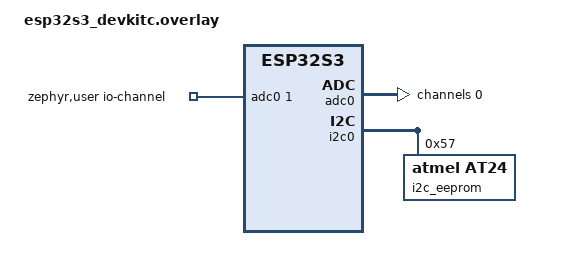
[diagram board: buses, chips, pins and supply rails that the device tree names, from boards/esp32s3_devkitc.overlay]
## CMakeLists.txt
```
# SPDX-License-Identifier: Apache-2.0

cmake_minimum_required(VERSION 3.20.0)

find_package(Zephyr REQUIRED HINTS $ENV{ZEPHYR_BASE})
project(hvac)

target_sources(app PRIVATE src/main.c src/adc_fake.c src/eeprom_fake.c src/fixedpoint-pid.c)
```

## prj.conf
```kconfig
# nothing here
#CONFIG_ZTEST=y
CONFIG_ADC=y
CONFIG_ADC_EMUL=y
## EEPROM
CONFIG_EEPROM=y
CONFIG_EMUL=y
CONFIG_EEPROM_INIT_PRIORITY=75
CONFIG_EEPROM_AT2X_EMUL=y
## ETHERNET
CONFIG_ETH_NATIVE_POSIX=y

# General config
CONFIG_MAIN_STACK_SIZE=1200
CONFIG_POSIX_API=y

# Networking config
CONFIG_NETWORKING=y
CONFIG_NET_IPV4=y
CONFIG_NET_IPV6=n
CONFIG_NET_TCP=y
CONFIG_NET_SOCKETS=y
CONFIG_NET_IPV4_MAPPING_TO_IPV6=n

# Network driver config
CONFIG_TEST_RANDOM_GENERATOR=y

# Network address config
CONFIG_NET_CONFIG_SETTINGS=y
CONFIG_NET_CONFIG_NEED_IPV4=y
CONFIG_NET_CONFIG_NEED_IPV6=n
CONFIG_NET_CONFIG_MY_IPV4_ADDR="192.0.2.1"
CONFIG_NET_CONFIG_PEER_IPV4_ADDR="192.0.2.2"
#CONFIG_NET_CONFIG_MY_IPV6_ADDR="2001:db8::1"
#CONFIG_NET_CONFIG_PEER_IPV6_ADDR="2001:db8::2"
```

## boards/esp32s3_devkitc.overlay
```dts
/*
 * SPDX-License-Identifier: Apache-2.0
 *
 * Copyright (c) 2024, Vitrolife A/S
 */

/ {
	zephyr,user {
		/* CN9 pin 1 */
		io-channels = <&adc0 1>;
	};
	
	aliases {
		eeprom-1 = &i2c_eeprom;
	};

};

&adc0 {
  status = "okay";
	#address-cells = <1>;
	#size-cells = <0>;

	channel@1 {
		reg = <0>;
		zephyr,gain = "ADC_GAIN_1";
		zephyr,reference = "ADC_REF_INTERNAL";
    zephyr,vref-mv = <3894>;
		zephyr,acquisition-time = <ADC_ACQ_TIME_DEFAULT>;
		zephyr,resolution = <12>;
	};
};

&i2c0 {
  status = "okay";
	i2c_eeprom: eeprom@57 {
		compatible = "atmel,at24";
		reg = <0x57>;
		size = <256>;
		pagesize = <8>;
		address-width = <8>;
		timeout = <5>;
	};
};
```

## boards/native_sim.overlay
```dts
/*
 * SPDX-License-Identifier: Apache-2.0
 *
 * Copyright (c) 2024, Vitrolife A/S
 */

/ {
	zephyr,user {
		/* CN9 pin 1 */
		io-channels = <&adc0 1>;
	};
	
	aliases {
		eeprom-1 = &i2c_eeprom;
	};

};

&adc0 {
	#address-cells = <1>;
	#size-cells = <0>;
	ref-internal-mv = <3300>;
	ref-external1-mv = <5000>;

	channel@1 {
		reg = <0>;
		zephyr,gain = "ADC_GAIN_1";
		zephyr,reference = "ADC_REF_INTERNAL";
		zephyr,acquisition-time = <ADC_ACQ_TIME_DEFAULT>;
		zephyr,resolution = <12>;
	};
};

&i2c0 {
	i2c_eeprom: eeprom@57 {
		compatible = "atmel,at24";
		reg = <0x57>;
		size = <256>;
		pagesize = <8>;
		address-width = <8>;
		timeout = <5>;
	};
};
```

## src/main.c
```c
/*
 * Copyright (c) 2020 Libre Solar Technologies GmbH
 *
 * SPDX-License-Identifier: Apache-2.0
 */

// Standard C headers
#include <inttypes.h>            // Format specifiers for integer types
#include <stddef.h>              // Standard definitions (NULL, size_t, etc.)
#include <stdint.h>              // Fixed-width integer types
#include <stdio.h>               // Standard I/O functions

// Zephyr RTOS headers
#include <zephyr/device.h>       // Device driver API
#include <zephyr/devicetree.h>   // DeviceTree macros
#include <zephyr/drivers/adc.h>  // ADC driver API
#include <zephyr/kernel.h>       // Kernel functions (threads, sleep)
#include <zephyr/sys/printk.h>   // printk for logging
#include <zephyr/sys/util.h>     // Utility macros

// Zephyr networking headers
#include <zephyr/net/socket.h>   // BSD socket API
#include <zephyr/net/ethernet.h> // Ethernet networking
#include <zephyr/net/net_mgmt.h> // Network management API

// Application-specific headers
#include "adc_fake.h"            // Fake ADC implementation
#include "eeprom_fake.h"         // Fake EEPROM implementation
#include "zephyr/net/net_ip.h"   // IP address utilities
#include "fixedpoint-pid.h"      // Fixed-point PID controller

// Define ADC device from DeviceTree instance 0
#define ADC_DEVICE_NODE		DT_INST(0, zephyr_adc_emul)

// Global pointer to EEPROM device
static const struct device *eeprom;

// TCP server port
#define BIND_PORT 4242

// Function: Initialize and run a single-threaded TCP echo server over Ethernet
int eth_init()
{
	int opt;                     // Socket option variable
	socklen_t optlen = sizeof(int);
	int serv, ret;
	struct sockaddr_in bind_addr = {
		.sin_family = AF_INET,                // IPv4
		.sin_addr = INADDR_ANY_INIT,         // Bind to all interfaces
		.sin_port = htons(BIND_PORT),        // Bind to BIND_PORT
	};
	static int counter;          // Connection counter

	// Create TCP socket
	serv = socket(AF_INET, SOCK_STREAM, IPPROTO_TCP);
	if (serv < 0) {
		printf("error: socket: %d\n", errno);
		exit(1);
	}

	// Check IPV6_V6ONLY option and disable if needed
	ret = getsockopt(serv, IPPROTO_IP, 0, &opt, &optlen);
	if (ret == 0) {
		if (opt) {
			printf("IPV6_V6ONLY option is on, turning it off.\n");
			opt = 0;
			ret = setsockopt(serv, IPPROTO_IP, 0, &opt, optlen);
			if (ret < 0) {
				printf("Cannot turn off IPV6_V6ONLY option\n");
			} else {
				printf("Sharing same socket between IPv6 and IPv4\n");
			}
		}
	}

	// Bind socket to the specified address and port
	if (bind(serv, (struct sockaddr *)&bind_addr, sizeof(bind_addr)) < 0) {
		printf("error: bind: %d\n", errno);
		exit(1);
	}

	// Start listening for incoming connections
	if (listen(serv, 5) < 0) {
		printf("error: listen: %d\n", errno);
		exit(1);
	}
	printf("Eth init finished\n");
	printf("Single-threaded TCP echo server waits for a connection on port %d...\n", BIND_PORT);

	while (1) {
		struct sockaddr_in client_addr;
		socklen_t client_addr_len = sizeof(client_addr);
		char addr_str[32];
		int client;

		// Accept a new connection
		client = accept(serv, (struct sockaddr *)&client_addr, &client_addr_len);
		if (client < 0) {
			printf("error: accept: %d\n", errno);
			continue;
		}

		// Convert client address to string and log connection
		inet_ntop(client_addr.sin_family, &client_addr.sin_addr, addr_str, sizeof(addr_str));
		printf("Connection #%d from %s\n", counter++, addr_str);

		while (1) {
			char buf[128], *p;
			int len, out_len;

			// Receive data from client
			len = recv(client, buf, sizeof(buf), 0);
			if (len <= 0) {
				if (len < 0) {
					printf("error: recv: %d\n", errno);
				}
				break; // Client closed connection
			}

			// Echo back received data
			p = buf;
			do {
				out_len = send(client, p, len, 0);
				if (out_len < 0) {
					printf("error: send: %d\n", errno);
					goto error;
				}
				p += out_len;
				len -= out_len;
			} while (len);
		}

error:
		close(client);
		printf("Connection from %s closed\n", addr_str);
	}

	return 0;
}

// Function: Initialize PID controller with fixed parameters
int init_pid_controller(FixedPid *pid) {
	FixedPid_Init(pid);                          // Initialize PID internals
	pid->Dt = Fixed32_FromFloat(0.1);           // Sampling interval
	pid->Max = 100;                             // Max output
	pid->Min = -100;                            // Min output
	pid->Kp  = Fixed32_FromFloat(0.1);          // Proportional gain
	pid->Kd  = Fixed32_FromFloat(0.01);         // Derivative gain
	pid->Ki  = Fixed32_FromFloat(0.5);          // Integral gain

	printf("max=%d    min=%d    dt=%d\n", pid->Max, pid->Min, pid->Dt);
	return 0;
}

// Main function
int main()
{
	int ret = 0;
	uint8_t tbuf[] = {0xAA, 0xBB};                          // Test data to write to EEPROM
	const struct device *const adc_dev = DEVICE_DT_GET(ADC_DEVICE_NODE); // Get ADC device from DT
	eeprom = DEVICE_DT_GET(DT_ALIAS(eeprom_1));             // Get EEPROM device alias

	// Configure fake ADC
	fake_adc_dev_t fake_adc = {
		.adc_dev = adc_dev,
		.input_mv = 1500,      // Initial input in mV
		.nsamples = 5,         // Number of samples
	};

	/******** EEPROM INIT ********/
	size_t size = eeprom_get_size(eeprom);                 // Read EEPROM size
	printk("EEPROM Size: %d\n", size);

	// Write test data to EEPROM
	ret = e2prom_fake_write(eeprom, 0x00, tbuf, sizeof(tbuf));
	printk("EEPROM WRITE ret: %d\n", ret);

	// Read back from EEPROM
	uint8_t rbuf[2] = {0};
	ret = e2prom_fake_read(eeprom, 0x00, rbuf, 2);
	printk("ret: %d, buf: %02x, %02x\n", ret, rbuf[0], rbuf[1]);

	/****** PID Controller init ******/
	FixedPid pid;
	FixedPid_Init(&pid);
	pid.Dt  = Fixed32_FromFloat(0.2);
	pid.Max = 16384;                                       // Max %
	pid.Min = -16384;                                      // Min %
	pid.Kp  = Fixed32_FromFloat(0.1);
	pid.Kd  = Fixed32_FromFloat(0.01);
	pid.Ki  = Fixed32_FromFloat(0.5);

	int ftemp = 2500;                                      // Desired temperature

	/******** ADC INIT *********/
	ret = adc_fake_setup(&fake_adc);                       // Setup ADC
	printk("fake adc ret: %d\n", ret);

	/******** Main Loop ********/
	while (1) {
		// Read current temperature
		int ctemp = adc_fake_read(&fake_adc);
		printk("ADC Read val: %d\n", ctemp);

		// Calculate PID output
		Fixed32 inc = FixedPid_Calculate(&pid, ftemp, ctemp);
		printk("Current Temp: %d, Desired Temp: %d, motor bias: %d\n",
		       ctemp, ftemp, inc);

		// Sleep and update ADC simulated input
		k_msleep(10);
		fake_adc.input_mv = ctemp + inc;
		adc_fake_set_value(&fake_adc);
	}

#if 0U
	// (Disabled) Run Ethernet echo server if needed
	eth_init();
#endif

	return 0;
}
```

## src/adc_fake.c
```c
/*
 * Copyright (c) 2024
 * Javad Rahimipetroudi <javad.rahimipetroud@mind.be>
 *
 * SPDX-License-Identifier: Apache-2.0
 */

// Application-specific fake ADC abstraction header
#include "adc_fake.h"

// Zephyr internal assertion utilities
#include "zephyr/sys/__assert.h"

// Standard C headers
#include <inttypes.h>             // Format specifiers
#include <stddef.h>               // size_t, NULL
#include <stdint.h>               // fixed-width integer types

// Zephyr device and driver headers
#include <zephyr/device.h>        // Device abstraction
#include <zephyr/devicetree.h>    // DeviceTree macros
#include <zephyr/drivers/adc.h>   // ADC driver API
#include <zephyr/kernel.h>        // Kernel (k_sleep, etc.)
#include <zephyr/sys/printk.h>    // printk logging
#include <zephyr/sys/util.h>      // utility macros
#include <zephyr/drivers/adc/adc_emul.h> // ADC emulator driver
//#include <zephyr/ztest.h>       // Unit test framework (commented out)

/* Constants defined from DeviceTree */
#define ADC_REF_INTERNAL_MV	DT_PROP(DT_INST(0, zephyr_adc_emul), ref_internal_mv)
#define ADC_REF_EXTERNAL1_MV	DT_PROP(DT_INST(0, zephyr_adc_emul), ref_external1_mv)

#define ADC_RESOLUTION		14                       // ADC resolution (bits)
#define ADC_ACQUISITION_TIME	ADC_ACQ_TIME_DEFAULT    // Default acquisition time
#define ADC_1ST_CHANNEL_ID	0                        // First ADC channel ID
#define ADC_2ND_CHANNEL_ID	1                        // Second ADC channel ID

#define INVALID_ADC_VALUE	SHRT_MIN                 // Invalid sample marker
#define MV_OUTPUT_EPS		2                        // Allowable millivolt error
#define SEQUENCE_STEP		100                      // Sample sequence step

#define BUFFER_SIZE  6                               // ADC sample buffer size
static int16_t m_sample_buffer[BUFFER_SIZE];        // Global ADC sample buffer

/**
 * @brief Setup a single ADC channel
 *
 * @param adc_dev Pointer to ADC device
 * @param ref Reference voltage source (internal/external)
 * @param gain Gain to apply
 * @param channel ADC channel number
 *
 * @return 0 on success or error code
 */
int channel_setup(const struct device *adc_dev, enum adc_reference ref,
                  enum adc_gain gain, int channel)
{
	int ret;

	// Configure ADC channel settings
	struct adc_channel_cfg channel_cfg = {
		.gain             = gain,
		.reference        = ref,
		.acquisition_time = ADC_ACQUISITION_TIME,
		.channel_id       = channel,
	};

	// Apply configuration to ADC driver
	ret = adc_channel_setup(adc_dev, &channel_cfg);

	// Could check result here using zassert_ok() in tests
	return ret;
}

/**
 * @brief Perform an ADC read on selected channels and collect samples
 *
 * @param adc_dev Pointer to ADC device
 * @param channel_mask Bitmask of channels to sample
 * @param len Number of samples to take
 *
 * @return 0 on success or error code
 */
static int start_adc_read(const struct device *adc_dev, uint32_t channel_mask,
                          uint16_t len)
{
	int ret;

	// Optional sequence options for multiple samples
	const struct adc_sequence_options options = {
		.extra_samplings = len - 1,
	};
	const struct adc_sequence_options *options_ptr =
		(len > 1) ? &options : NULL;

	// ADC sequence configuration
	const struct adc_sequence sequence = {
		.options     = options_ptr,
		.channels    = channel_mask,
		.buffer      = m_sample_buffer,
		.buffer_size = sizeof(m_sample_buffer),
		.resolution  = ADC_RESOLUTION,
	};

	// Trigger ADC read
	ret = adc_read(adc_dev, &sequence);
	printk("adc read ret: %d\n", ret);

	return ret;
}

/**
 * @brief Initialize fake ADC device and set initial emulated value
 *
 * @param fake_adc_dev Pointer to fake ADC device structure
 *
 * @return 0 on success or error code
 */
int adc_fake_setup(const fake_adc_dev_t *fake_adc_dev)
{
	int ret;

	// Initialize sample buffer with invalid values
	for (int i = 0; i < BUFFER_SIZE; ++i) {
		m_sample_buffer[i] = INVALID_ADC_VALUE;
	}

	// Setup ADC channel
	ret = channel_setup(fake_adc_dev->adc_dev, ADC_REF_INTERNAL,
	                    ADC_GAIN_1, ADC_1ST_CHANNEL_ID);
	if (ret)
		return ret;

	// Set initial value in ADC emulator
	return adc_emul_const_value_set(fake_adc_dev->adc_dev,
	                                ADC_1ST_CHANNEL_ID,
	                                fake_adc_dev->input_mv);
}

/**
 * @brief Read value from fake ADC, average samples, convert to mV
 *
 * @param fake_adc_dev Pointer to fake ADC device structure
 *
 * @return Average measured value in millivolts, or error code
 */
int adc_fake_read(const fake_adc_dev_t *fake_adc_dev)
{
	int ret;
	int avg_val = 0;

	// Start ADC conversion and read samples
	ret = start_adc_read(fake_adc_dev->adc_dev,
	                     BIT(ADC_1ST_CHANNEL_ID),
	                     fake_adc_dev->nsamples);

	printk("ADC READ RET :%d\n", ret);
	if (ret)
		return ret;

	// Convert raw samples to millivolts and accumulate
	for (int i = 0; i < fake_adc_dev->nsamples; i++) {
		int output = m_sample_buffer[i];
		ret = adc_raw_to_millivolts(ADC_REF_INTERNAL_MV, ADC_GAIN_1,
		                            ADC_RESOLUTION, &output);
		avg_val += output;
	}

	// Return average value
	return (avg_val / fake_adc_dev->nsamples);
}

/**
 * @brief Update the emulated ADC value
 *
 * @param fake_adc_dev Pointer to fake ADC device structure
 *
 * @return 0 on success or error code
 */
int adc_fake_set_value(const fake_adc_dev_t *fake_adc_dev)
{
	return adc_emul_const_value_set(fake_adc_dev->adc_dev,
	                                ADC_1ST_CHANNEL_ID,
	                                fake_adc_dev->input_mv);
}
```

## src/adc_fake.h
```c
#ifndef _ADC_FAKE_H_
#define _ADC_FAKE_H_
#include <stdint.h>
#include <zephyr/device.h>
typedef struct _FAKE_ADC_DEV
{
	const struct device * adc_dev;
	uint16_t input_mv;
	uint16_t nsamples;
}fake_adc_dev_t;

int adc_fake_setup(const fake_adc_dev_t* fake_adc_dev);
int adc_fake_read(const fake_adc_dev_t* fake_adc_dev);
int adc_fake_set_value(const fake_adc_dev_t * fake_adc_dev);
#endif
```

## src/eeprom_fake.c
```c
// Application-specific header for fake EEPROM abstraction
#include "eeprom_fake.h"

// Zephyr driver API for EEPROM devices
#include "zephyr/drivers/eeprom.h"

// Standard types header (off_t, size_t, etc.)
#include <sys/types.h>

// Function: Write data to fake EEPROM
// Arguments:
//   fake_e2p_dev - pointer to EEPROM device
//   address      - EEPROM memory offset to write to
//   buf          - pointer to data buffer
//   buf_len      - number of bytes to write
// Returns:
//   0 on success, negative error code on failure
int e2prom_fake_write(const struct device* fake_e2p_dev, const off_t address,
                      const uint8_t* buf, const size_t buf_len)
{
	int ret = 0;

	// Call Zephyr EEPROM write API
	ret = eeprom_write(fake_e2p_dev, address, buf, buf_len);

	return ret;
}

// Function: Read data from fake EEPROM
// Arguments:
//   fake_e2p_dev - pointer to EEPROM device
//   address      - EEPROM memory offset to read from
//   buf          - pointer to buffer to store read data
//   buf_len      - number of bytes to read
// Returns:
//   0 on success, negative error code on failure
int e2prom_fake_read(const struct device *fake_e2p_dev, const off_t address,
                     uint8_t *buf, size_t buf_len)
{
	int ret = 0;

	// Call Zephyr EEPROM read API
	ret = eeprom_read(fake_e2p_dev, address, buf, buf_len);

	return ret;
}
```

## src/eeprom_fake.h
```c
#ifndef __EEPROM_FAKE_H_
#define __EEPROM_FAKE_H_
#include "zephyr/types.h"
#include <stdint.h>
#include <zephyr/device.h>
#include <zephyr/drivers/eeprom.h>

int e2prom_fake_write(const struct device* fake_e2p_dev, const off_t address, const uint8_t* buf, const size_t buf_len);
int e2prom_fake_read(const struct device *fake_e2p_dev, const off_t address, uint8_t *buf, size_t buf_len);


#endif
```

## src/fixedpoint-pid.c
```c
// Fixed-Point PID Algorithm
// Ported from: https://gist.github.com/bradley219/5373998
// Author: Li "oldrev" Wei <oldrev@gmail.com>

#include <stdio.h>             // Standard I/O (optional)
#include <stdint.h>            // Fixed-width integer types
#include <string.h>            // memset()

#include "fixedpoint-pid.h"    // Header file for FixedPid type and typedefs

// Define fixed-point Q format: Q16.16
#define FIXED32_Q        (16)                                   // Fractional bits
#define FIXED32_FMASK    (((Fixed32)1 << FIXED32_Q) - 1)        // Mask for fractional part

/**
 * @brief Convert integer to fixed-point representation
 */
Fixed32 Fixed32_FromInt(int32_t n) {
	return (Fixed32)((Fixed32)n << FIXED32_Q);
}

/**
 * @brief Extract fractional part of fixed-point number
 */
int32_t Fixed32_Frac(Fixed32 a){
	return a & FIXED32_FMASK;
}

/**
 * @brief Convert float to fixed-point with rounding
 */
Fixed32 Fixed32_FromFloat(float f) {
	return (Fixed32)((f) * (((Fixed64)1 << FIXED32_Q) + ((f) >= 0 ? 0.5 : -0.5)));
}

/**
 * @brief Convert fixed-point to float
 */
Fixed32 Fixed32_ToFloat(float T) {
	return (float)((T) * ((float)1 / (float)(1 << FIXED32_Q)));
}

/**
 * @brief Multiply two fixed-point numbers
 */
Fixed32 Fixed32_Mul(Fixed32 a, Fixed32 b) {
	return (Fixed32)(((Fixed64)a * (Fixed64)b) >> FIXED32_Q);
}

/**
 * @brief Divide two fixed-point numbers
 */
Fixed32 Fixed32_Div(Fixed32 a, Fixed32 b) {
	return (Fixed32)(((Fixed64)a << FIXED32_Q) / (Fixed64)b);
}

/**
 * @brief Initialize PID controller state to zero
 */
void FixedPid_Init(FixedPid* self) {
	memset(self, 0, sizeof(FixedPid));
}

/**
 * @brief Calculate PID output given setpoint and process variable
 *
 * @param self Pointer to PID controller state
 * @param setpoint Desired target value (fixed-point)
 * @param pv Measured process value (fixed-point)
 * @return PID output (fixed-point)
 */
Fixed32 FixedPid_Calculate(FixedPid* self, Fixed32 setpoint, Fixed32 pv) {
    // Compute error term: setpoint - process value
    Fixed32 error = setpoint - pv;

    // Proportional term: Kp * error
    Fixed32 Pout = Fixed32_Mul(self->Kp, error);

    // Integral term: accumulate error * dt
    self->Integral += Fixed32_Mul(error, self->Dt);
    Fixed32 Iout = Fixed32_Mul(self->Ki, self->Integral);

    // Derivative term: (error - previous error) / dt
    Fixed32 derivative = Fixed32_Div(error - self->PrevError, self->Dt);
    Fixed32 Dout = Fixed32_Mul(self->Kd, derivative);

    // Compute total output
    Fixed32 output = Pout + Iout + Dout;

    // Clamp output to min/max
    if (output > self->Max) {
        output = self->Max;
    } else if (output < self->Min) {
        output = self->Min;
    }

    // Save current error for next iteration
    self->PrevError = error;

    return output;
}
```

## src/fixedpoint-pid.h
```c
#ifndef __FIXED_PID_H__
#define __FIXED_PID_H__
#include <stdint.h>
typedef int32_t Fixed32;
typedef int64_t Fixed64;
typedef struct {
	Fixed32 Dt;
	Fixed32 Max;
	Fixed32 Min;
	Fixed32 Kp;
	Fixed32 Kd;
	Fixed32 Ki;
	Fixed32 PrevError;
	Fixed32 Integral;
} FixedPid;
/******************************/
Fixed32 Fixed32_FromInt(int32_t n);
int32_t Fixed32_Frac(Fixed32 a);
Fixed32 Fixed32_FromFloat(float f);
Fixed32 Fixed32_ToFloat(float T);
Fixed32 Fixed32_Mul(Fixed32 a, Fixed32 b);
Fixed32 Fixed32_Div(Fixed32 a, Fixed32 b);
Fixed32 FixedPid_Calculate(FixedPid* self, Fixed32 setpoint, Fixed32 pv);
void FixedPid_Init(FixedPid* self); 
/*****************************/
#endif 
```
